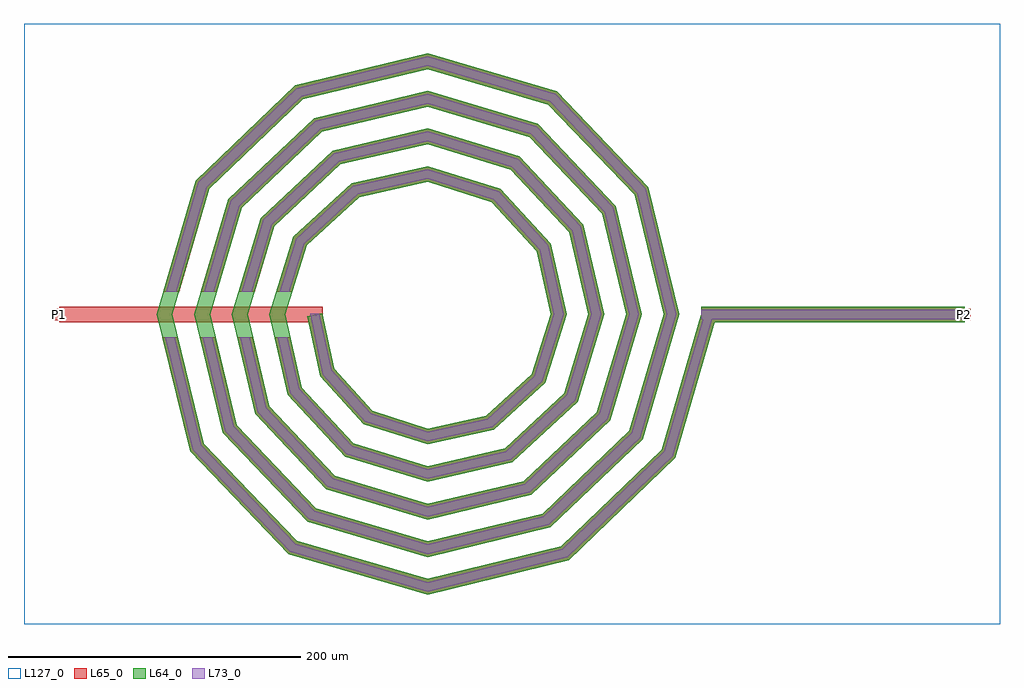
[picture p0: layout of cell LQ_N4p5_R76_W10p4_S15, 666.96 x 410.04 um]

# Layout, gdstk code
import gdstk
lib = gdstk.Library(unit=1e-6, precision=1e-09)
def R(c, l, rs):  # rectangles x0, y0, x1, y1
    for r in rs: c.add(gdstk.rectangle(r[:2], r[2:], *l))
def P(c, l, *ps):  # polygons
    for p in ps: c.add(gdstk.Polygon(p, *l))
L64_0 = (64, 0)
L65_0 = (65, 0)
L73_0 = (73, 0)
L127_0 = (127, 0)

lq_n4p5_r76_w10p4_s15 = lib.new_cell('LQ_N4p5_R76_W10p4_S15')
R(lq_n4p5_r76_w10p4_s15, L64_0, [(187.283,-5.2,367.283,5.2)])
P(lq_n4p5_r76_w10p4_s15, L64_0, [(-63.634,-37.053),(-37.659,-65.756),(0.258,-77.917),(40.247,-69.206),(71.308,-40.886),(84.339,0.24),(74.776,43.442),(44.112,76.862),(0.224,90.761),(-46.64,80.346),(-82.416,47.336),(-97.183,0.21),(-85.915,-49.84),(-50.558,-87.972),(0.197,-103.606),(53.041,-91.483),(93.528,-53.779),(110.028,0.186),(97.05,56.243),(57,99.085),(0.176,116.451),(-59.446,102.617),(-104.643,60.219),(-122.874,0.168),(-108.183,-62.65),(-63.437,-110.201),(0.16,-129.296),(65.855,-113.749),(115.759,-66.655),(135.719,0.152),(119.315,69.06),(69.872,121.318),(0.146,142.142),(-72.266,124.88),(-126.877,73.089),(-148.564,0.14),(-130.446,-75.472),(-76.305,-132.437),(0.134,-154.987),(78.679,-136.011),(137.996,-79.521),(161.41,0.129),(141.575,81.886),(82.737,143.556),(0.124,167.832),(-85.093,147.14),(-149.116,85.952),(-174.255,0.12),(-152.704,-88.3),(-89.167,-154.676),(0.116,-180.678),(91.508,-158.269),(160.236,-92.382),(187.49,1.45),(197.477,-1.45),(169.446,-97.96),(96.693,-167.706),(0.116,-191.443),(-94.752,-163.882),(-162.145,-93.478),(-185.02,0.12),(-158.317,91.544),(-90.263,156.585),(0.124,178.597),(88.337,152.752),(151.025,87.047),(172.174,0.129),(147.188,-85.13),(83.831,-145.465),(0.134,-165.751),(-81.923,-141.622),(-139.905,-80.615),(-159.328,0.14),(-136.057,78.716),(-77.399,134.346),(0.146,152.905),(75.51,130.492),(128.786,74.182),(146.482,0.152),(124.926,-72.304),(70.964,-123.227),(0.16,-140.059),(-69.099,-119.359),(-117.669,-67.746),(-133.636,0.168),(-113.793,65.895),(-64.527,112.11),(0.176,127.213),(62.691,108.226),(106.553,61.307),(120.79,0.186),(102.658,-59.489),(58.086,-100.995),(0.197,-114.367),(-56.287,-97.09),(-95.438,-54.864),(-107.943,0.21),(-91.52,53.086),(-51.641,89.882),(0.224,101.52),(49.887,85.95),(84.327,48.416),(95.096,0.24),(80.379,-46.69),(45.189,-78.773),(0.258,-88.673),(-43.495,-74.806),(-73.22,-41.96),(-81.957,-1.087),(-71.787,1.087)])
R(lq_n4p5_r76_w10p4_s15, L65_0, [(-251.672,-5.2,-71.672,5.2), (187.283,-5.2,367.283,5.2), (-255.672,-4,-247.672,4), (363.283,-4,371.283,4)])
P(lq_n4p5_r76_w10p4_s15, L65_0, [(-152.704,-88.301),(-89.167,-154.676),(0.116,-180.678),(91.508,-158.269),(160.236,-92.382),(187.49,1.45),(197.477,-1.45),(169.446,-97.96),(96.693,-167.706),(0.116,-191.443),(-94.752,-163.882),(-162.145,-93.478),(-181.178,-15.6),(-170.472,-15.6)],
  [(-130.446,-75.472),(-76.305,-132.437),(0.134,-154.987),(78.679,-136.011),(137.996,-79.521),(161.41,0.129),(141.575,81.886),(82.737,143.556),(0.124,167.832),(-85.093,147.14),(-149.116,85.952),(-169.664,15.6),(-180.498,15.6),(-158.317,91.544),(-90.263,156.585),(0.124,178.597),(88.337,152.752),(151.025,87.047),(172.174,0.129),(147.188,-85.13),(83.831,-145.465),(0.134,-165.751),(-81.923,-141.622),(-139.905,-80.615),(-155.542,-15.6),(-144.846,-15.6)],
  [(-108.183,-62.65),(-63.437,-110.201),(0.16,-129.296),(65.855,-113.749),(115.759,-66.655),(135.719,0.152),(119.315,69.06),(69.872,121.318),(0.146,142.142),(-72.266,124.88),(-126.877,73.089),(-143.903,15.6),(-154.749,15.6),(-136.057,78.716),(-77.399,134.346),(0.146,152.905),(75.51,130.492),(128.786,74.182),(146.482,0.152),(124.926,-72.305),(70.964,-123.227),(0.16,-140.059),(-69.1,-119.359),(-117.669,-67.746),(-129.929,-15.6),(-119.245,-15.6)],
  [(-85.915,-49.84),(-50.558,-87.972),(0.197,-103.606),(53.041,-91.483),(93.528,-53.779),(110.028,0.186),(97.05,56.243),(57,99.085),(0.177,116.451),(-59.446,102.617),(-104.643,60.219),(-118.113,15.6),(-128.977,15.6),(-113.793,65.895),(-64.527,112.11),(0.177,127.213),(62.691,108.226),(106.553,61.307),(120.79,0.186),(102.658,-59.489),(58.086,-100.995),(0.197,-114.367),(-56.287,-97.09),(-95.439,-54.864),(-104.354,-15.6),(-93.689,-15.6)],
  [(-37.659,-65.756),(0.258,-77.917),(40.247,-69.206),(71.308,-40.887),(84.339,0.24),(74.776,43.442),(44.112,76.862),(0.224,90.761),(-46.64,80.346),(-82.416,47.336),(-92.273,15.6),(-103.163,15.6),(-91.52,53.086),(-51.641,89.882),(0.224,101.52),(49.887,85.95),(84.327,48.416),(95.097,0.24),(80.379,-46.69),(45.189,-78.773),(0.258,-88.673),(-43.495,-74.806),(-73.22,-41.96),(-81.957,-1.087),(-71.787,1.087),(-63.634,-37.053)])
R(lq_n4p5_r76_w10p4_s15, L73_0, [(187.283,-3.2,367.283,3.2)])
P(lq_n4p5_r76_w10p4_s15, L73_0, [(-154.52,-89.296),(-90.241,-156.446),(0.071,-182.748),(92.505,-160.084),(162.008,-93.455),(189.41,0.893),(195.556,0.893),(167.675,-96.888),(95.696,-165.891),(0.071,-189.373),(-93.678,-162.111),(-160.33,-92.482),(-179.119,-15.6),(-172.531,-15.6)],
  [(-132.265,-76.461),(-77.386,-134.203),(0.083,-157.057),(79.67,-137.829),(139.764,-80.6),(163.48,0.079),(143.393,82.878),(83.814,145.325),(0.076,169.903),(-86.087,148.956),(-150.885,87.028),(-171.748,15.6),(-178.415,15.6),(-156.548,90.469),(-89.269,154.769),(0.076,176.527),(87.26,150.984),(149.208,86.055),(170.104,0.079),(145.42,-84.051),(82.841,-143.647),(0.083,-163.681),(-80.842,-139.856),(-138.086,-79.626),(-153.485,-15.6),(-146.903,-15.6)],
  [(-110.007,-63.63),(-64.526,-111.962),(0.098,-131.366),(66.837,-115.572),(117.522,-67.741),(137.789,0.094),(121.136,70.045),(70.956,123.082),(0.09,144.211),(-73.253,126.701),(-128.643,74.171),(-145.989,15.6),(-152.664,15.6),(-134.292,77.634),(-76.412,132.525),(0.09,150.835),(74.426,128.727),(126.965,73.197),(144.412,0.094),(123.163,-71.218),(69.981,-121.405),(0.098,-137.989),(-68.011,-117.598),(-115.845,-66.766),(-127.874,-15.6),(-121.3,-15.6)],
  [(-87.746,-50.806),(-51.66,-89.725),(0.121,-105.675),(54.011,-93.312),(95.284,-54.877),(112.098,0.115),(98.877,57.217),(58.094,100.843),(0.109,118.521),(-60.423,104.443),(-106.402,61.31),(-120.202,15.6),(-126.888,15.6),(-112.033,64.804),(-63.55,110.285),(0.109,125.143),(61.597,106.468),(104.725,60.333),(118.72,0.115),(100.902,-58.391),(57.116,-99.166),(0.121,-112.297),(-55.185,-95.336),(-93.607,-53.898),(-102.303,-15.6),(-95.74,-15.6)],
  [(-38.781,-67.497),(0.159,-79.985),(41.197,-71.046),(73.053,-42.003),(86.408,0.147),(76.613,44.399),(45.223,78.61),(0.138,92.83),(-47.602,82.18),(-84.167,48.442),(-94.367,15.6),(-101.069,15.6),(-89.77,51.981),(-50.679,88.049),(0.138,99.451),(48.777,84.202),(82.491,47.46),(93.028,0.147),(78.635,-45.574),(44.239,-76.933),(0.159,-86.604),(-42.373,-73.066),(-71.377,-41.016),(-80.001,0.669),(-73.743,0.669),(-65.478,-37.997)])
R(lq_n4p5_r76_w10p4_s15, L127_0, [(-275.672,-211.443,391.283,198.597)])
lq_n4p5_r76_w10p4_s15.add(gdstk.Label('P2', (367.283,0), layer=65, texttype=0))
lq_n4p5_r76_w10p4_s15.add(gdstk.Label('P1', (-251.672,0), layer=65, texttype=0))
lq_n4p5_r76_w10p4_s15.add(gdstk.Label('P2', (371.283,0), layer=145, texttype=0))
lq_n4p5_r76_w10p4_s15.add(gdstk.Label('P1', (-255.672,0), layer=145, texttype=0))

lib.write_gds('LQ_N4p5_R76_W10p4_S15.gds')
